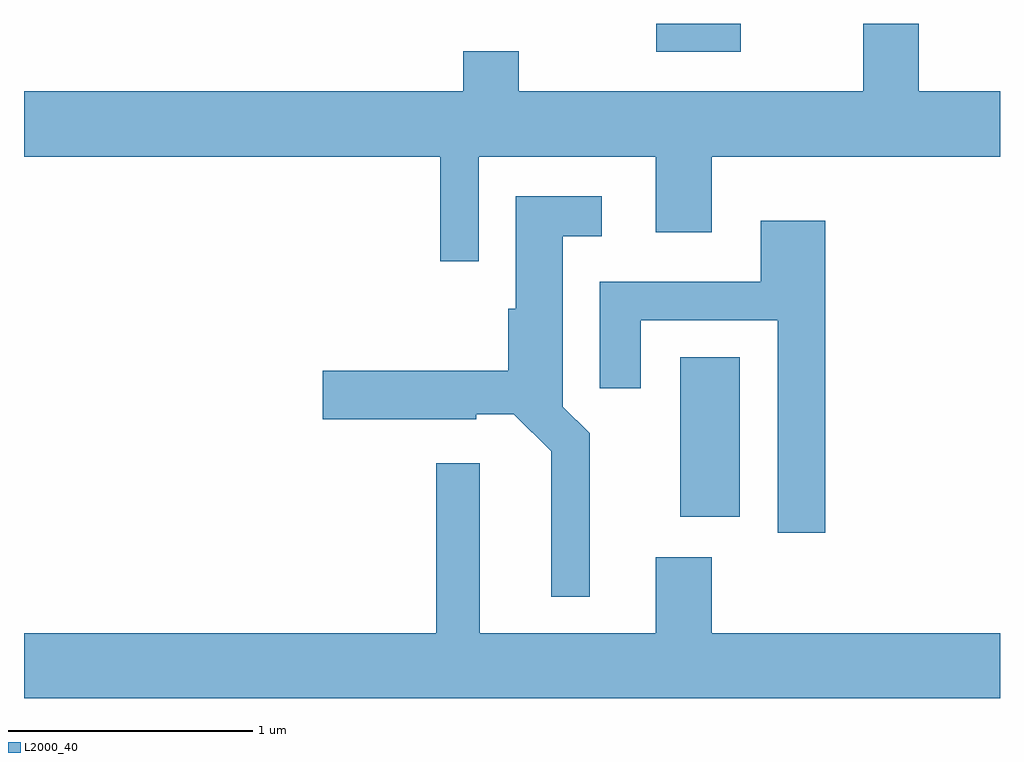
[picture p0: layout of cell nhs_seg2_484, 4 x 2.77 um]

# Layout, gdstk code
import gdstk
lib = gdstk.Library(unit=1e-6, precision=1e-09)
def R(c, l, rs):  # rectangles x0, y0, x1, y1
    for r in rs: c.add(gdstk.rectangle(r[:2], r[2:], *l))
def P(c, l, *ps):  # polygons
    for p in ps: c.add(gdstk.Polygon(p, *l))
L2000_40 = (2000, 40)

nhs_seg2_484 = lib.new_cell('nhs_seg2_484')
R(nhs_seg2_484, L2000_40, [(202.301,995.781,202.544,996.434), (202.203,997.686,202.549,997.802)])
P(nhs_seg2_484, L2000_40, [(201.474,997.256),(202.201,997.256),(202.201,996.946),(202.429,996.946),(202.429,997.256),(203.611,997.256),(203.611,997.524),(203.279,997.524),(203.279,997.802),(203.051,997.802),(203.051,997.524),(201.639,997.524),(201.639,997.689),(201.411,997.689),(201.411,997.524),(199.611,997.524),(199.611,997.256),(201.316,997.256),(201.316,996.828),(201.474,996.828)],
  [(201.929,996.122),(201.819,996.232),(201.819,996.931),(201.978,996.931),(201.978,997.094),(201.626,997.094),(201.626,996.634),(201.596,996.634),(201.596,996.379),(200.836,996.379),(200.836,996.181),(201.464,996.181),(201.464,996.201),(201.619,996.201),(201.771,996.049),(201.771,995.453),(201.929,995.453)],
  [(202.894,996.994),(202.631,996.994),(202.631,996.744),(201.971,996.744),(201.971,996.308),(202.139,996.308),(202.139,996.586),(202.701,996.586),(202.701,995.716),(202.894,995.716)],
  [(203.611,995.304),(202.429,995.304),(202.429,995.614),(202.201,995.614),(202.201,995.304),(201.479,995.304),(201.479,995.999),(201.301,995.999),(201.301,995.304),(199.611,995.304),(199.611,995.036),(203.611,995.036)])

lib.write_gds('nhs_seg2_484.gds')
